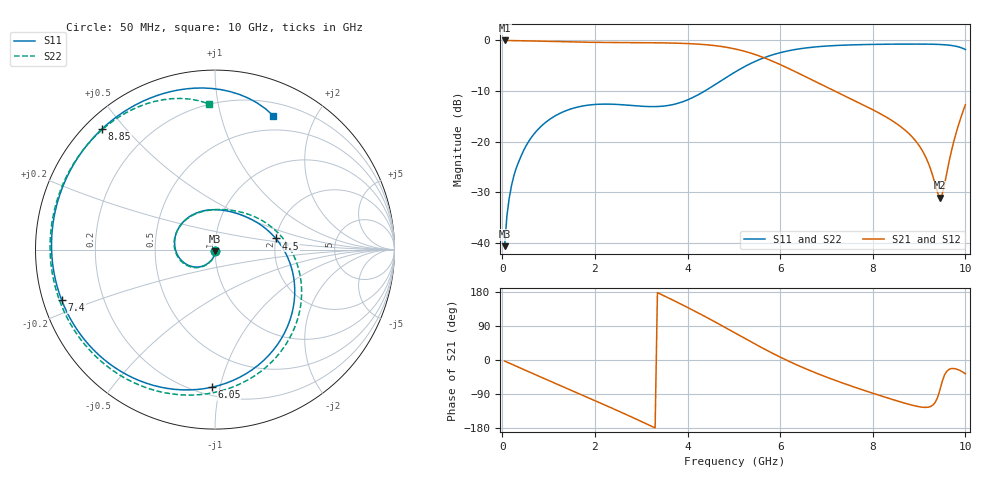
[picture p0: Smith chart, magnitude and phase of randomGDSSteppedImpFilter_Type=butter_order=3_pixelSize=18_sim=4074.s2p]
! freq	dB(S11)	phase(S11)	dB(S12)	phase(S12)
!  dB(S21)	phase(S21)	dB(S22)	phase(S22)
!S-par simulation data
#  GHz  S  DB  R 50
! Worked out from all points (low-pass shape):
!   200 points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, 50 MHz to 10 GHz, reference 50 ohm
!   highest |S21| = 0.00 dB at 50 MHz (marker M1); lowest = -31.0 dB at 9.45 GHz (marker M2)
!   |S21| within 3 dB of the highest: start of sweep to 5.531 GHz
!   lowest |S11| = -40.6 dB at 50 MHz (marker M3), VSWR 1.02, Z = 50 - j0.932 ohm
!   |S11| at or under -10 dB: start of sweep to 4.368 GHz
!   |S22| runs from -40.6 to -0.7 dB; largest |S21 - S12| = 0
!   S11 on the Smith chart (normalised r, x): 50 MHz: 1.00, -0.02; 4.5 GHz: 2.00, +0.28; 6.05 GHz: 0.25, -0.94; 7.4 GHz: 0.05, -0.16; 8.85 GHz: 0.05, +0.43; 10 GHz: 0.34, +1.48
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0.05  -40.60 -92.3  -0.00 -2.8  -0.00 -2.8  -40.60 -92.2
0.1  -34.59 -95.2  -0.01 -5.5  -0.01 -5.5  -34.59 -95.0
0.2  -28.61 -100.5  -0.03 -10.9  -0.03 -10.9  -28.61 -100.2
0.5  -21.02 -118.2  -0.08 -27.2  -0.08 -27.2  -21.01 -117.2
1.15  -14.84 -153.8  -0.22 -62.0  -0.22 -62.0  -14.84 -151.5
1.75  -12.92 173.5  -0.34 -93.9  -0.34 -93.9  -12.92 177.3
2.2  -12.56 148.7  -0.39 -117.9  -0.39 -117.9  -12.56 153.9
2.7  -12.77 120.4  -0.42 -145.3  -0.42 -145.3  -12.77 127.5
3.4  -13.02 79.1  -0.47 174.9  -0.47 174.9  -13.03 88.8
3.9  -12.09 48.4  -0.58 144.9  -0.58 144.9  -12.10 59.0
4.5  -9.27 10.4  -0.93 106.7  -0.93 106.7  -9.27 20.4
5.05  -6.11 -26.2  -1.72 69.8  -1.72 69.8  -6.10 -16.8
5.55  -3.78 -59.7  -3.07 36.1  -3.07 36.1  -3.77 -50.5
6.05  -2.30 -91.4  -4.97 4.7  -4.97 4.7  -2.28 -81.7
6.7  -1.33 -127.7  -7.84 -30.7  -7.84 -30.7  -1.31 -116.7
7.4  -0.92 -161.7  -10.97 -62.9  -10.97 -62.9  -0.89 -148.6
8.35  -0.74 155.9  -15.45 -101.3  -15.45 -101.3  -0.72 172.9
8.85  -0.72 133.2  -19.03 -119.2  -19.03 -119.2  -0.70 152.7
9.15  -0.73 118.6  -23.15 -125.0  -23.15 -125.0  -0.72 139.8
9.45  -0.80 102.8  -31.04 -78.9  -31.04 -78.9  -0.80 125.7
9.75  -1.07 84.6  -19.92 -22.5  -19.92 -22.5  -1.07 109.2
10  -1.80 66.4  -12.71 -36.4  -12.71 -36.4  -1.80 92.4
